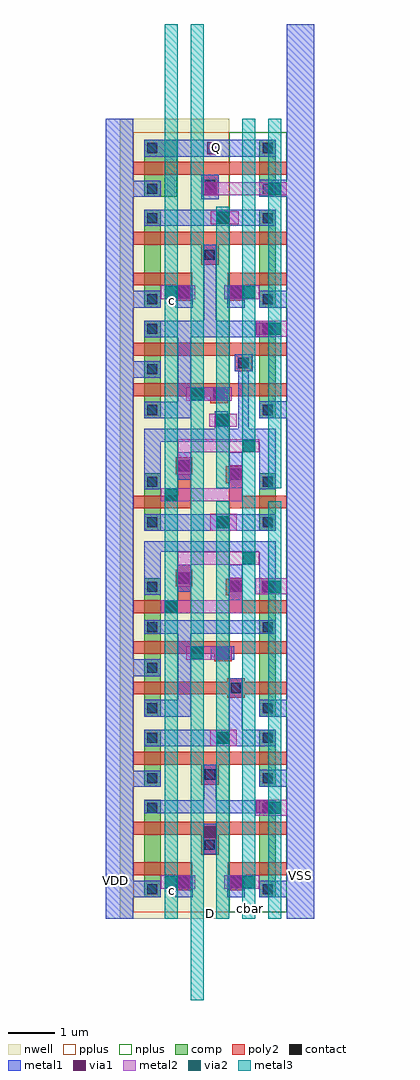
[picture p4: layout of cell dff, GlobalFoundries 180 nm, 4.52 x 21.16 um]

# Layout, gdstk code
import gdstk
lib = gdstk.Library(unit=1e-6, precision=5e-09)
def R(c, l, rs):  # rectangles x0, y0, x1, y1
    for r in rs: c.add(gdstk.rectangle(r[:2], r[2:], *l))
def A(c, l, x, y, w, h, nx, ny, dx, dy):  # array of equal rectangles
    R(c, l, [(x+i*dx, y+j*dy, x+i*dx+w, y+j*dy+h) for i in range(nx) for j in range(ny)])
nwell = (21, 0)
comp = (22, 0)
poly2 = (30, 0)
pplus = (31, 0)
nplus = (32, 0)
contact = (33, 0)
metal1 = (34, 0)
via1 = (35, 0)
metal2 = (36, 0)
via2 = (38, 0)
metal3 = (42, 0)

dff = lib.new_cell('dff')
R(dff, nwell, [(11.19,-18.745,13.57,-1.395)])
R(dff, comp, [(11.72,-18.285,12.08,-16.165), (14.22,-18.285,14.58,-16.165), (11.72,-15.885,12.08,-14.645), (14.22,-15.885,14.58,-14.645), (11.72,-14.365,12.08,-11.365), (14.22,-14.365,14.58,-11.365), (11.72,-10.33,12.08,-9.09), (14.22,-10.33,14.58,-9.09), (11.72,-7.895,12.08,-5.775), (14.22,-7.895,14.58,-5.775), (11.72,-5.495,12.08,-3.375), (14.22,-5.495,14.58,-3.375), (11.72,-3.095,12.44,-1.855), (14.22,-3.095,14.58,-1.855)])
A(dff, poly2, 11.49, -16.925, 3.32, 0.28, 1, 3, 0, 1.52)
R(dff, poly2, [(12.41,-18.135,12.77,-17.805), (13.53,-18.135,13.89,-17.805), (11.49,-17.805,12.77,-17.525), (13.53,-17.805,14.81,-17.525), (12.96,-17.36,13.34,-16.925), (12.96,-15.84,13.34,-15.405), (13.52,-13.96,13.9,-13.53), (13.24,-13.16,13.62,-12.725), (11.49,-13.005,14.81,-12.725), (11.49,-12.125,12.73,-11.845), (12.45,-12.125,12.73,-11.07), (13.57,-12.125,13.85,-11.37), (13.57,-12.125,14.81,-11.845), (13.49,-11.73,13.85,-11.37), (12.41,-11.54,12.77,-11.18), (11.49,-9.85,12.73,-9.57), (12.45,-9.85,12.73,-8.795), (13.57,-9.85,13.85,-9.095), (13.57,-9.85,14.81,-9.57), (13.49,-9.3,13.85,-8.935), (12.41,-9.11,12.77,-8.745), (13.15,-7.57,13.53,-7.135), (11.49,-7.415,14.81,-7.135), (13.69,-6.88,14.06,-6.51), (11.49,-6.535,14.81,-6.255), (12.41,-5.345,12.77,-5.015), (13.53,-5.345,13.89,-5.015), (11.49,-5.015,12.77,-4.735), (13.53,-5.015,14.81,-4.735), (12.96,-4.57,13.34,-4.135), (11.49,-4.135,14.81,-3.855), (12.96,-3.05,13.34,-2.615), (11.49,-2.615,14.81,-2.335)])
R(dff, pplus, [(11.49,-18.61,13.57,-1.695)])
R(dff, nplus, [(13.57,-18.61,14.81,-1.695)])
A(dff, contact, 11.79, -14.295, 0.22, 0.22, 1, 4, 0, 0.88)
A(dff, contact, 11.79, -7.825, 0.22, 0.22, 1, 3, 0, 0.88)
R(dff, contact, [(11.79,-18.215,12.01,-17.995), (14.29,-18.215,14.51,-17.995), (12.48,-18.065,12.7,-17.845), (13.6,-18.065,13.82,-17.845), (13.035,-17.25,13.255,-17.03), (11.79,-16.455,12.01,-16.235), (14.29,-16.455,14.51,-16.235), (11.79,-15.815,12.01,-15.595), (14.29,-15.815,14.51,-15.595), (13.04,-15.73,13.26,-15.51), (11.79,-14.935,12.01,-14.715), (14.29,-14.935,14.51,-14.715), (14.29,-14.295,14.51,-14.075), (13.6,-13.855,13.82,-13.635), (13.32,-13.09,13.54,-12.87), (14.29,-12.535,14.51,-12.315), (13.56,-11.66,13.78,-11.44), (14.29,-11.655,14.51,-11.435), (14.29,-11.655,14.51,-11.435), (12.48,-11.47,12.7,-11.25), (11.79,-10.26,12.01,-10.04), (14.29,-10.26,14.51,-10.04), (11.79,-9.38,12.01,-9.16), (14.29,-9.38,14.51,-9.16), (13.56,-9.225,13.78,-9.005), (12.48,-9.035,12.7,-8.815), (14.29,-7.825,14.51,-7.605), (13.23,-7.475,13.45,-7.255), (13.765,-6.805,13.985,-6.585), (14.29,-6.065,14.51,-5.845), (11.79,-5.425,12.01,-5.205), (14.29,-5.425,14.51,-5.205), (12.48,-5.275,12.7,-5.055), (13.6,-5.275,13.82,-5.055), (13.035,-4.46,13.255,-4.24), (11.79,-3.665,12.01,-3.445), (14.29,-3.665,14.51,-3.445), (11.79,-3.025,12.01,-2.805), (14.29,-3.025,14.51,-2.805), (13.04,-2.94,13.26,-2.72), (11.79,-2.145,12.01,-1.925), (14.29,-2.145,14.51,-1.925)])
R(dff, metal1, [(10.89,-18.745,11.49,-1.395), (14.81,-18.745,15.41,0.655), (11.49,-18.285,12.08,-17.925), (12.4,-18.285,12.78,-17.805), (13.52,-18.285,13.9,-17.805), (14.22,-18.285,14.81,-17.92), (13.01,-17.35,13.29,-16.685), (11.72,-16.455,14.58,-16.18), (13.01,-16.18,13.29,-15.405), (11.49,-15.885,12.08,-15.535), (14.22,-15.885,14.81,-15.515), (11.72,-15.01,14.58,-14.645), (13.57,-15.01,13.85,-13.53), (11.72,-14.365,12.73,-14), (12.45,-14.365,12.73,-12.27), (14.22,-14.365,14.81,-14), (11.49,-13.485,12.08,-13.125), (13.165,-13.13,13.675,-12.835), (11.72,-12.57,14.58,-12.27), (13.56,-11.845,13.85,-11.07), (11.72,-11.72,12.08,-10.56), (14.22,-11.71,14.58,-10.56), (12.45,-11.66,12.73,-11.07), (11.72,-10.79,14.58,-10.56), (11.72,-10.33,14.58,-9.975), (11.72,-9.435,12.08,-8.125), (14.22,-9.435,14.58,-8.125), (13.56,-9.41,13.85,-8.635), (12.45,-9.225,12.73,-8.635), (11.72,-8.405,14.58,-8.125), (13.25,-8.125,13.53,-7.745), (13.76,-8.125,13.99,-6.535), (11.72,-7.895,12.73,-7.54), (12.45,-7.895,12.73,-5.775), (14.22,-7.895,14.81,-7.53), (13.02,-7.515,13.53,-7.22), (11.49,-7.015,12.08,-6.655), (13.69,-6.88,14.075,-6.51), (11.72,-6.135,14.58,-5.775), (13.01,-5.775,13.29,-4.135), (11.49,-5.495,12.08,-5.135), (12.4,-5.495,12.78,-5.015), (13.52,-5.495,13.9,-5.015), (14.22,-5.495,14.81,-5.13), (11.72,-3.725,14.58,-3.375), (12.96,-3.145,13.34,-2.615), (11.49,-3.095,12.08,-2.745), (14.22,-3.095,14.81,-2.725), (11.72,-2.22,14.58,-1.855)])
R(dff, via1, [(12.46,-18.085,12.72,-17.825), (13.58,-18.085,13.84,-17.825), (13.02,-17.005,13.28,-16.745), (14.14,-16.45,14.4,-16.19), (13.3,-14.955,13.56,-14.695), (13.3,-13.115,13.56,-12.855), (14.27,-11.675,14.53,-11.415), (13.58,-11.67,13.84,-11.41), (12.46,-11.49,12.72,-11.23), (13.3,-10.28,13.56,-10.02), (13.58,-9.235,13.84,-8.975), (12.46,-9.055,12.72,-8.795), (13.26,-8.065,13.52,-7.805), (13.21,-7.5,13.47,-7.24), (14.14,-6.085,14.4,-5.825), (12.46,-5.295,12.72,-5.035), (13.58,-5.295,13.84,-5.035), (13.3,-3.68,13.56,-3.42), (13.035,-3.045,13.295,-2.785), (13.09,-2.17,13.35,-1.91)])
R(dff, metal2, [(12.08,-18.1,12.83,-17.805), (13.46,-18.1,14.22,-17.805), (14.13,-16.515,14.81,-16.165), (13.155,-15.01,13.73,-14.645), (12.63,-13.13,13.62,-12.835), (12.08,-12.125,13.85,-11.845), (13.57,-12.125,13.85,-11.35), (14.13,-11.71,14.81,-11.365), (12.45,-11.55,12.73,-10.79), (12.45,-11.07,14.22,-10.79), (13.155,-10.335,13.73,-9.97), (12.08,-9.69,13.85,-9.41), (13.57,-9.69,13.85,-8.915), (12.45,-9.115,12.73,-8.355), (12.45,-8.635,14.22,-8.355), (13.13,-8.075,13.73,-7.795), (12.63,-7.515,13.62,-7.22), (14.13,-6.125,14.81,-5.775), (12.08,-5.31,12.83,-5.015), (13.46,-5.31,14.22,-5.015), (13.17,-3.69,13.77,-3.41), (12.96,-3.055,14.81,-2.775)])
R(dff, via2, [(12.18,-18.085,12.44,-17.825), (13.86,-18.085,14.12,-17.825), (14.42,-16.475,14.68,-16.215), (13.3,-14.955,13.56,-14.695), (12.74,-13.115,13,-12.855), (12.18,-12.115,12.44,-11.855), (14.42,-11.675,14.68,-11.415), (13.86,-11.06,14.12,-10.8), (13.3,-10.28,13.56,-10.02), (12.18,-9.68,12.44,-9.42), (13.86,-8.625,14.12,-8.365), (13.3,-8.065,13.56,-7.805), (12.74,-7.5,13,-7.24), (14.42,-6.085,14.68,-5.825), (12.18,-5.295,12.44,-5.035), (13.86,-5.295,14.12,-5.035), (13.3,-3.68,13.56,-3.42), (14.42,-3.045,14.68,-2.785)])
R(dff, metal3, [(12.73,-20.51,13.01,0.655), (12.17,-18.745,12.45,0.655), (13.29,-18.745,13.57,-9.69), (13.85,-18.745,14.13,-1.395), (14.41,-18.745,14.69,-9.69), (13.29,-9.41,13.57,-3.31), (14.41,-9.41,14.69,-1.395)])
dff.add(gdstk.Label('D', (13.155,-18.635), layer=34, texttype=10))
dff.add(gdstk.Label('VDD', (11.1,-17.92), layer=34, texttype=10))
dff.add(gdstk.Label('VSS', (15.11,-17.81), layer=34, texttype=10))
dff.add(gdstk.Label('Q', (13.295,-2.02), layer=34, texttype=10))
dff.add(gdstk.Label('RSTn', (12.875,-18.63), layer=42, texttype=10))
dff.add(gdstk.Label('c', (12.34,-18.125), layer=42, texttype=10))
dff.add(gdstk.Label('cbar', (14.025,-18.52), layer=42, texttype=10))
dff.add(gdstk.Label('c', (12.34,-5.335), layer=42, texttype=10))

lib.write_gds('dff.gds')
